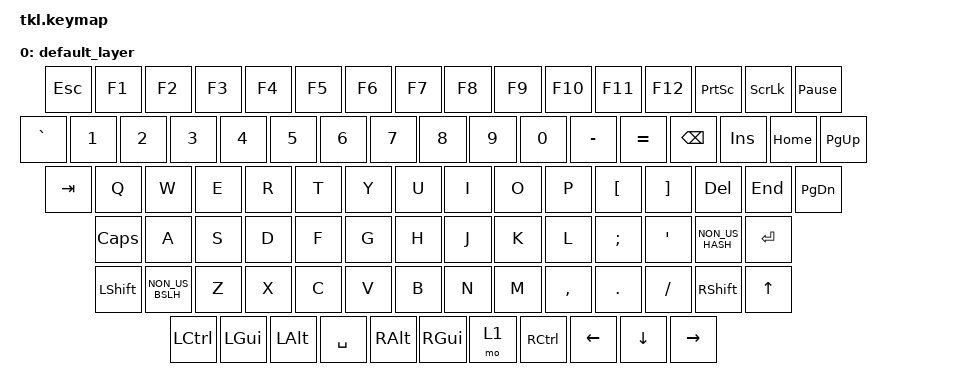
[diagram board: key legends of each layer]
/*
 * Copyright (c) 2021 Nick Winans
 *
 * SPDX-License-Identifier: MIT
 */

#include <behaviors.dtsi>
#include <dt-bindings/zmk/keys.h>
#include <dt-bindings/zmk/bt.h>

/ {
	keymap {
		compatible = "zmk,keymap";
		
		default_layer {
// ------------------------------------------------------------------------------------------
// | ESC |  1  |  2  |  3  |  4  |  5  |  6  |  7  |  8  |  9  |  0  |  -  |  =  |   BKSP   | 
// | TAB  |  Q  |  W  |  E  |  R  |  T  |  Y  |  U  |  I  |  O  |  P  |  [  |  ]  |   "|"   |
// | CAPS  |  A  |  S  |  D  |  F  |  G  |  H  |  J  |  K  |  L  |  ;  |  '  |     ENTER    |
// |  SHIFT  |  Z  |  X  |  C  |  V  |  B  |  N  |  M  |  ,  |  .  |  /  |      SHIFT       |
// |  CTL  |  WIN  |  ALT  |            SPACE              |  ALT  |  WIN  |  MO(1) |  CTL  |
// ------------------------------------------------------------------------------------------
			bindings = <
	&kp ESC          &kp F1 &kp F2 &kp F3 &kp F4   &kp F5 &kp F6 &kp F7 &kp F8   &kp F9 &kp F10 &kp F11 &kp F12  	&kp PSCRN	&kp SLCK	&kp PAUSE_BREAK
	&kp GRAVE &kp N1 &kp N2 &kp N3 &kp N4 &kp N5 &kp N6 &kp N7 &kp N8 &kp N9 &kp N0 &kp MINUS &kp EQUAL &kp BSPC	&kp INS		&kp HOME	&kp PG_UP
	&kp TAB  &kp Q  &kp W  &kp E  &kp R  &kp T  &kp Y  &kp U  &kp I  &kp O  &kp P  &kp LBKT  &kp RBKT				&kp DEL		&kp END		&kp PG_DN
	&kp CLCK  &kp A  &kp S  &kp D  &kp F  &kp G  &kp H  &kp J  &kp K  &kp L  &kp SEMI &kp SQT &kp NON_US_HASH  &kp RET
	&kp LSHFT &kp NON_US_BSLH &kp Z  &kp X  &kp C  &kp V  &kp B  &kp N  &kp M  &kp COMMA &kp DOT &kp FSLH &kp RSHFT				&kp UP
	&kp LCTRL &kp LGUI &kp LALT             &kp SPACE                     &kp RALT  &kp RGUI  &mo 1   &kp RCTRL		&kp LEFT	&kp DOWN	&kp RIGHT
			>;
		};
	};
};
